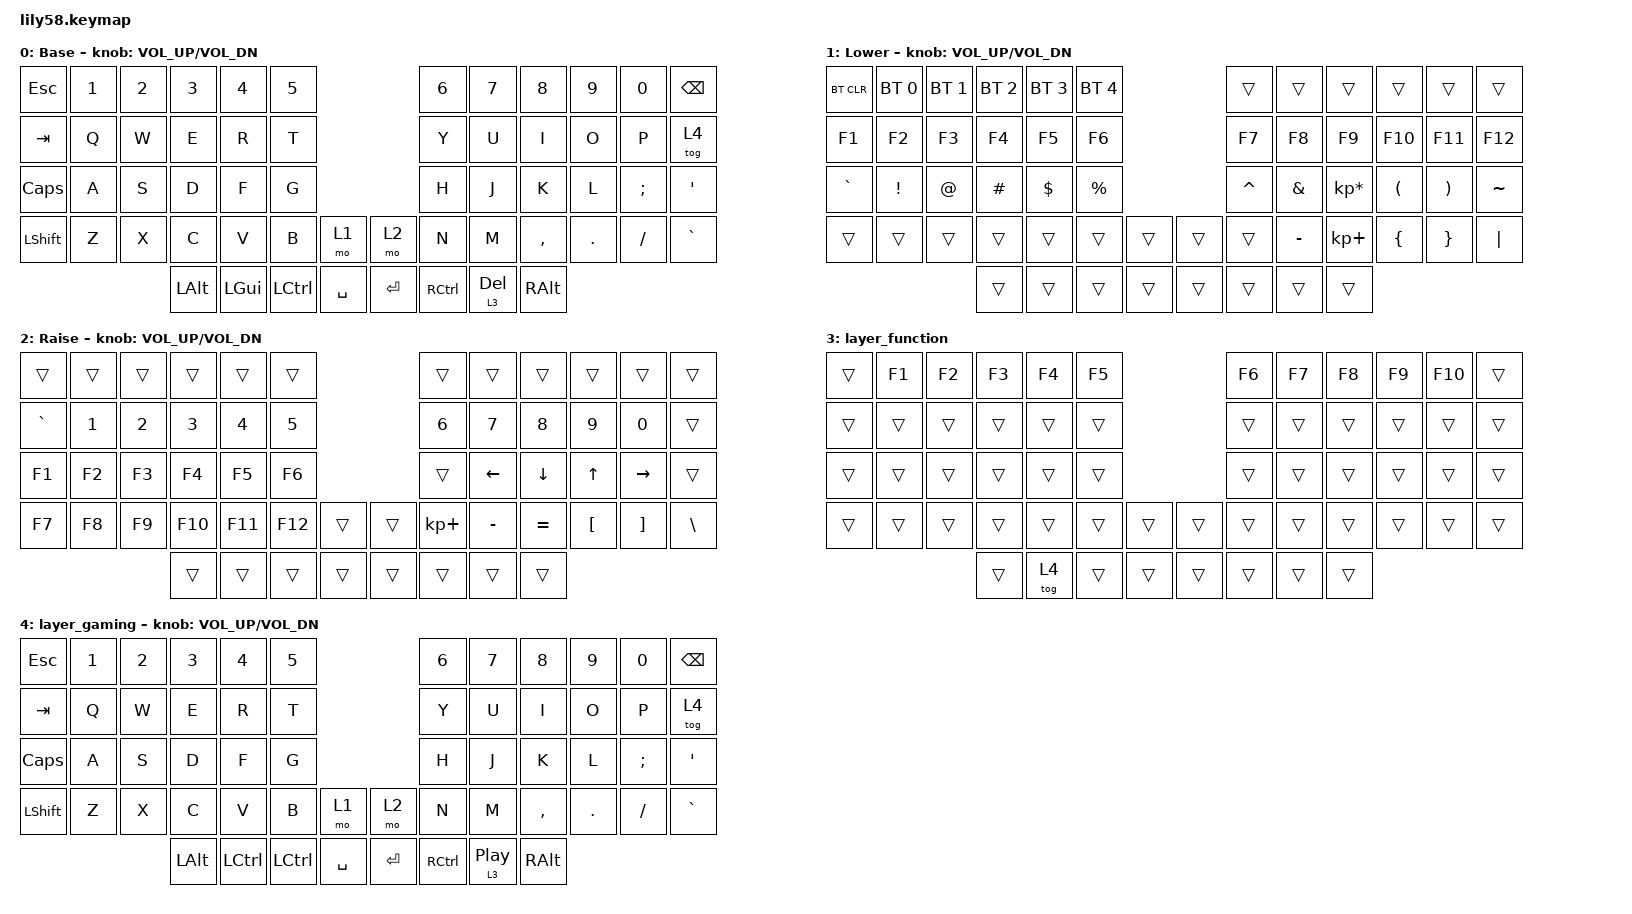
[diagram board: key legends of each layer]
/*
 * Copyright (c) 2020 The ZMK Contributors
 *
 * SPDX-License-Identifier: MIT
 */

#include <behaviors.dtsi>
#include <dt-bindings/zmk/bt.h>
#include <dt-bindings/zmk/keys.h>

/ {
    macros {
        new_macro: new_macro {
            compatible = "zmk,behavior-macro";
            #binding-cells = <0>;
            bindings = <&none>;
            label = "NEW_MACRO";
        };
    };

    keymap {
        compatible = "zmk,keymap";

        default_layer {
            // ------------------------------------------------------------------------------------------------------------
            // |  ESC  |  1  |  2  |  3   |  4   |  5   |                   |  6   |  7    |  8    |  9   |   0   |   `   |
            // |  TAB  |  Q  |  W  |  E   |  R   |  T   |                   |  Y   |  U    |  I    |  O   |   P   |   -   |
            // |  CTRL |  A  |  S  |  D   |  F   |  G   |                   |  H   |  J    |  K    |  L   |   ;   |   '   |
            // | SHIFT |  Z  |  X  |  C   |  V   |  B   |   "["  |  |  "]"  |  N   |  M    |  ,    |  .   |   /   | SHIFT |
            //                     | ALT  | GUI  | LOWER|  SPACE |  | ENTER | RAISE| BSPC  | GUI   |

            display-name = "Base";
            bindings = <
&kp ESC       &kp N1  &kp N2  &kp N3        &kp N4    &kp N5                             &kp N6     &kp N7     &kp N8         &kp N9   &kp N0    &kp BACKSPACE
&kp TAB       &kp Q   &kp W   &kp E         &kp R     &kp T                              &kp Y      &kp U      &kp I          &kp O    &kp P     &tog 4
&kp CAPSLOCK  &kp A   &kp S   &kp D         &kp F     &kp G                              &kp H      &kp J      &kp K          &kp L    &kp SEMI  &kp SQT
&kp LSHFT     &kp Z   &kp X   &kp C         &kp V     &kp B      &mo 1        &mo 2      &kp N      &kp M      &kp COMMA      &kp DOT  &kp FSLH  &kp GRAVE
                              &kp LEFT_ALT  &kp LGUI  &kp LCTRL  &kp SPACE    &kp ENTER  &kp RCTRL  &lt 3 DEL  &kp RIGHT_ALT
            >;

            sensor-bindings = <&inc_dec_kp C_VOL_UP C_VOL_DN>;
        };

        lower_layer {
            // ------------------------------------------------------------------------------------------------------------
            // | BTCLR | BT1 | BT2 |  BT3 |  BT4 |  BT5 |                   |      |       |       |      |       |       |
            // |  F1   |  F2 |  F3 |  F4  |  F5  |  F6  |                   |  F7  |  F8   |  F9   |  F10 |  F11  |  F12  |
            // |   `   |  !  |  @  |  #   |  $   |  %   |                   |  ^   |  &    |  *    |  (   |   )   |   ~   |
            // |       |     |     |      |      |      |        |  |       |      |  _    |  +    |  {   |   }   |  "|"  |
            //                     |      |      |      |        |  |       |      |       |       |

            display-name = "Lower";
            bindings = <
&bt BT_CLR  &bt BT_SEL 0  &bt BT_SEL 1  &bt BT_SEL 2  &bt BT_SEL 3  &bt BT_SEL 4                    &trans     &trans     &trans           &trans    &trans    &trans
&kp F1      &kp F2        &kp F3        &kp F4        &kp F5        &kp F6                          &kp F7     &kp F8     &kp F9           &kp F10   &kp F11   &kp F12
&kp GRAVE   &kp EXCL      &kp AT        &kp HASH      &kp DOLLAR    &kp PRCNT                       &kp CARET  &kp AMPS   &kp KP_MULTIPLY  &kp LPAR  &kp RPAR  &kp TILDE
&trans      &trans        &trans        &trans        &trans        &trans        &trans    &trans  &trans     &kp MINUS  &kp KP_PLUS      &kp LBRC  &kp RBRC  &kp PIPE
                                        &trans        &trans        &trans        &trans    &trans  &trans     &trans     &trans
            >;

            sensor-bindings = <&inc_dec_kp C_VOL_UP C_VOL_DN>;
        };

        raise_layer {
            // ------------------------------------------------------------------------------------------------------------
            // |       |     |     |      |      |      |                   |      |       |       |      |       |       |
            // |   `   |  1  |  2  |  3   |  4   |  5   |                   |  6   |   7   |   8   |  9   |   0   |       |
            // |   F1  |  F2 |  F3 |  F4  |  F5  |  F6  |                   |      |   <-  |   v   |  ^   |  ->   |       |
            // |   F7  |  F8 |  F9 |  F10 |  F11 |  F12 |        |  |       |  +   |   -   |   =   |  [   |   ]   |   \   |
            //                     |      |      |      |        |  |       |      |       |       |

            display-name = "Raise";
            bindings = <
&trans     &trans  &trans  &trans   &trans   &trans                     &trans       &trans     &trans     &trans    &trans     &trans
&kp GRAVE  &kp N1  &kp N2  &kp N3   &kp N4   &kp N5                     &kp N6       &kp N7     &kp N8     &kp N9    &kp N0     &trans
&kp F1     &kp F2  &kp F3  &kp F4   &kp F5   &kp F6                     &trans       &kp LEFT   &kp DOWN   &kp UP    &kp RIGHT  &trans
&kp F7     &kp F8  &kp F9  &kp F10  &kp F11  &kp F12  &trans    &trans  &kp KP_PLUS  &kp MINUS  &kp EQUAL  &kp LBKT  &kp RBKT   &kp BSLH
                           &trans   &trans   &trans   &trans    &trans  &trans       &trans     &trans
            >;

            sensor-bindings = <&inc_dec_kp C_VOL_UP C_VOL_DN>;
        };

        layer_function {
            bindings = <
&trans  &kp F1  &kp F2  &kp F3  &kp F4  &kp F5                    &kp F6  &kp F7  &kp F8  &kp F9  &kp F10  &trans
&trans  &trans  &trans  &trans  &trans  &trans                    &trans  &trans  &trans  &trans  &trans   &trans
&trans  &trans  &trans  &trans  &trans  &trans                    &trans  &trans  &trans  &trans  &trans   &trans
&trans  &trans  &trans  &trans  &trans  &trans  &trans    &trans  &trans  &trans  &trans  &trans  &trans   &trans
                        &trans  &tog 4  &trans  &trans    &trans  &trans  &trans  &trans
            >;
        };

        layer_gaming {
            display-name = "layer_gaming";
            bindings = <
&kp ESC       &kp N1  &kp N2  &kp N3        &kp N4     &kp N5                             &kp N6     &kp N7              &kp N8         &kp N9   &kp N0    &kp BACKSPACE
&kp TAB       &kp Q   &kp W   &kp E         &kp R      &kp T                              &kp Y      &kp U               &kp I          &kp O    &kp P     &tog 4
&kp CAPSLOCK  &kp A   &kp S   &kp D         &kp F      &kp G                              &kp H      &kp J               &kp K          &kp L    &kp SEMI  &kp SQT
&kp LSHFT     &kp Z   &kp X   &kp C         &kp V      &kp B      &mo 1        &mo 2      &kp N      &kp M               &kp COMMA      &kp DOT  &kp FSLH  &kp GRAVE
                              &kp LEFT_ALT  &kp LCTRL  &kp LCTRL  &kp SPACE    &kp ENTER  &kp RCTRL  &lt 3 C_PLAY_PAUSE  &kp RIGHT_ALT
            >;

            sensor-bindings = <&inc_dec_kp C_VOL_UP C_VOL_DN>;
        };

        extra_1 { status = "reserved"; };

        extra_2 { status = "reserved"; };

        extra_3 { status = "reserved"; };
    };
};
